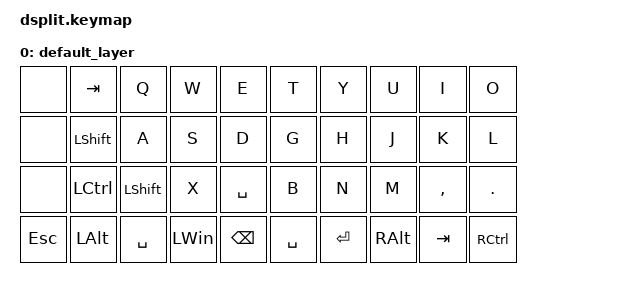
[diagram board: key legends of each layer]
// This file was generated from a template. Edit it to match your keyboard.
// See https://zmk.dev/docs/development/hardware-integration/new-shield for more instructions.

#include <behaviors.dtsi>
#include <dt-bindings/zmk/keys.h>

/ {
    // Define a default keymap here.
    // See https://zmk.dev/docs/development/hardware-integration/new-shield#default-keymap.
    keymap {
        compatible = "zmk,keymap";

        default_layer {
            bindings = <
                &none   &kp TAB   &kp Q  &kp W  &kp E      &kp T     &kp Y     &kp U  &kp I   &kp O
                &none   &kp LSHFT &kp A  &kp S  &kp D      &kp G     &kp H     &kp J  &kp K   &kp L
                &none   &kp LCTRL &kp LSHFT  &kp X  &kp SPACE     &kp B     &kp N     &kp M  &kp COMMA &kp DOT
                &kp ESC &kp LALT  &kp SPACE &kp LWIN &kp BSPC  &kp SPACE &kp ENTER &kp RALT &kp TAB &kp RCTRL
            >;
        };
    };
};
